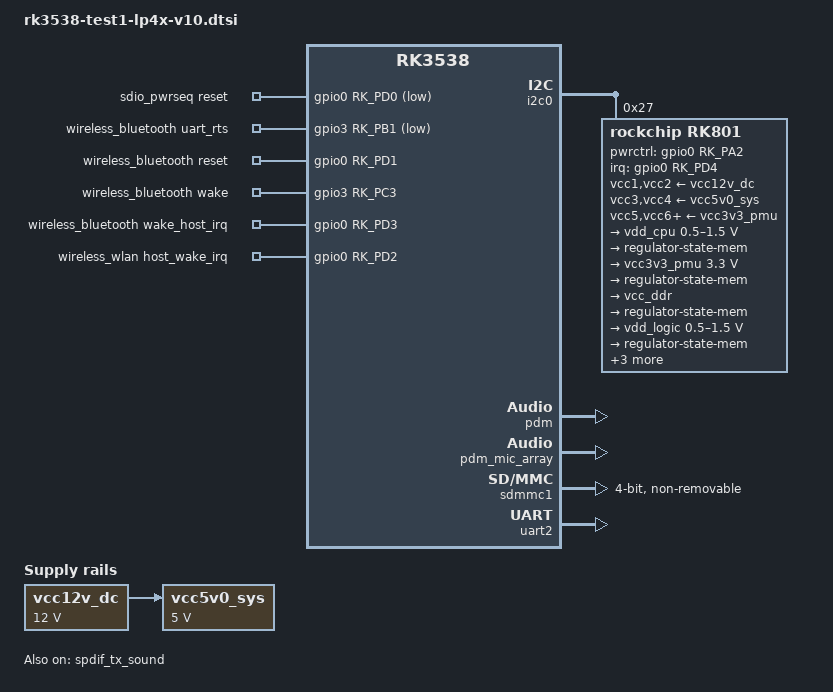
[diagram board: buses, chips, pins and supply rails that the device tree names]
// SPDX-License-Identifier: (GPL-2.0+ OR MIT)
/*
 * Copyright (c) 2025 Rockchip Electronics Co., Ltd.
 *
 */

/dts-v1/;

#include <dt-bindings/gpio/gpio.h>
#include <dt-bindings/pinctrl/rockchip.h>
#include "rk3538.dtsi"
#include "rk3538-evb.dtsi"
#include "rk3538-evb-input-keymap.dtsi"

/ {
	sdio_pwrseq: sdio-pwrseq {
		compatible = "mmc-pwrseq-simple";
		pinctrl-names = "default";
		pinctrl-0 = <&wifi_enable_h &clk_32km0_pins>;
		post-power-on-delay-ms = <200>;
		reset-gpios = <&gpio0 RK_PD0 GPIO_ACTIVE_LOW>;
		status = "okay";
	};

	vcc12v_dc: vcc12v-dc {
		compatible = "regulator-fixed";
		regulator-name = "vcc12v_dc";
		regulator-always-on;
		regulator-boot-on;
		regulator-min-microvolt = <12000000>;
		regulator-max-microvolt = <12000000>;
	};

	vcc5v0_sys: vcc5v0-sys {
		compatible = "regulator-fixed";
		regulator-name = "vcc5v0_sys";
		regulator-always-on;
		regulator-boot-on;
		regulator-min-microvolt = <5000000>;
		regulator-max-microvolt = <5000000>;
		vin-supply = <&vcc12v_dc>;
	};

	wireless_bluetooth: wireless-bluetooth {
		compatible = "bluetooth-platdata";
		uart_rts_gpios = <&gpio3 RK_PB1 GPIO_ACTIVE_LOW>;
		pinctrl-names = "default", "rts_gpio";
		pinctrl-0 = <&uart2m0_rtsn_pins>;
		pinctrl-1 = <&uart2m0_gpios>;
		BT,reset_gpio    = <&gpio0 RK_PD1 GPIO_ACTIVE_HIGH>;
		BT,wake_gpio     = <&gpio3 RK_PC3 GPIO_ACTIVE_HIGH>;
		BT,wake_host_irq = <&gpio0 RK_PD3 GPIO_ACTIVE_HIGH>;
		status = "okay";
	};

	wireless_wlan: wireless-wlan {
		compatible = "wlan-platdata";
		wifi_chip_type = "ap6275s";
		pinctrl-names = "default";
		pinctrl-0 = <&wifi_host_wake_irq>;
		WIFI,host_wake_irq = <&gpio0 RK_PD2 GPIO_ACTIVE_HIGH>;
		status = "okay";
	};
};

&i2c0 {
	status = "okay";
	pinctrl-names = "default";
	pinctrl-0 = <&i2c0m0_pins>;

	rk801: rk801@27 {
		compatible = "rockchip,rk801";
		status = "okay";
		reg = <0x27>;
		interrupt-parent = <&gpio0>;
		interrupts = <RK_PD4 IRQ_TYPE_LEVEL_LOW>;
		pwrctrl-gpios = <&gpio0 RK_PA2 GPIO_ACTIVE_HIGH>;

		pinctrl-names = "default", "pmic-reset";
		pinctrl-0 = <&pmic_int>;
		pinctrl-1 = <&soc_pwrctrl_reset>;
		rockchip,system-power-controller;
		wakeup-source;

		vcc1-supply = <&vcc12v_dc>;
		vcc2-supply = <&vcc12v_dc>;
		vcc3-supply = <&vcc5v0_sys>;
		vcc4-supply = <&vcc5v0_sys>;
		vcc5-supply = <&vcc3v3_pmu>;
		vcc6-supply = <&vcc3v3_pmu>;
		vcc7-supply = <&vcc3v3_pmu>;

		regulators {
			vdd_cpu: DCDC_REG1 {
				regulator-name = "vdd_cpu";
				regulator-min-microvolt = <500000>;
				regulator-max-microvolt = <1500000>;
				regulator-initial-mode = <0x1>;
				regulator-boot-on;
				regulator-always-on;
				regulator-state-mem {
					regulator-mode = <0x2>;
					regulator-off-in-suspend;
				};
			};

			vcc3v3_pmu: DCDC_REG2 {
				regulator-name = "vcc3v3_pmu";
				regulator-min-microvolt = <3300000>;
				regulator-max-microvolt = <3300000>;
				regulator-initial-mode = <0x1>;
				regulator-boot-on;
				regulator-always-on;
				regulator-state-mem {
					regulator-mode = <0x2>;
					regulator-on-in-suspend;
					regulator-suspend-microvolt = <3300000>;
				};
			};

			vcc_ddr: DCDC_REG3 {
				regulator-name = "vcc_ddr";
				regulator-boot-on;
				regulator-always-on;
				regulator-state-mem {
					regulator-mode = <0x2>;
					regulator-on-in-suspend;
				};
			};

			vdd_logic: DCDC_REG4 {
				regulator-name = "vdd_logic";
				regulator-min-microvolt = <500000>;
				regulator-max-microvolt = <1500000>;
				regulator-initial-mode = <0x1>;
				regulator-boot-on;
				regulator-always-on;
				regulator-state-mem {
					regulator-mode = <0x2>;
					regulator-on-in-suspend;
					regulator-suspend-microvolt = <900000>;
				};
			};

			vdd_0v9: LDO_REG1 {
				regulator-name = "vdd_0v9";
				regulator-min-microvolt = <900000>;
				regulator-max-microvolt = <900000>;
				regulator-boot-on;
				regulator-always-on;
				regulator-state-mem {
					regulator-on-in-suspend;
					regulator-suspend-microvolt = <900000>;
				};
			};

			vcc1v8_pmu: LDO_REG2 {
				regulator-name = "vcc1v8_pmu";
				regulator-min-microvolt = <1800000>;
				regulator-max-microvolt = <1800000>;
				regulator-boot-on;
				regulator-always-on;
				regulator-state-mem {
					regulator-on-in-suspend;
					regulator-suspend-microvolt = <1800000>;
				};
			};

			vcc_3v3: SWITCH_REG {
				regulator-name = "vcc_3v3";
				regulator-boot-on;
				regulator-always-on;
				regulator-state-mem {
					regulator-on-in-suspend;
				};
			};
		};
	};
};

&cpu0 {
	cpu-supply = <&vdd_cpu>;
};

&cpu2 {
	cpu-supply = <&vdd_cpu>;
};

&gpu {
	mali-supply = <&vdd_logic>;
};

&pdm {
	status = "okay";
};

&pdm_mic_array {
	status = "okay";
};

&pinctrl {
	pmic {
		pmic_int: pmic-int {
			rockchip,pins = <0 RK_PD4 RK_FUNC_GPIO &pcfg_pull_up>;
		};

		soc_pwrctrl_reset: soc-pwrctrl-reset {
			rockchip,pins = <0 RK_PA2 RK_FUNC_GPIO &pcfg_output_high>;
		};
	};

	sdio-pwrseq {
		wifi_enable_h: wifi-enable-h {
			rockchip,pins = <0 RK_PD0 RK_FUNC_GPIO &pcfg_pull_none>;
		};
	};

	wireless-bluetooth {
		uart2m0_gpios: uart2m0-gpios {
			rockchip,pins = <3 RK_PB1 RK_FUNC_GPIO &pcfg_pull_none>;
		};
	};

	wireless-wlan {
		wifi_host_wake_irq: wifi-host-wake-irq {
			rockchip,pins = <0 RK_PD2 RK_FUNC_GPIO &pcfg_pull_down>;
		};
	};
};

&sdmmc1 {
	max-frequency = <200000000>;
	no-sd;
	no-mmc;
	bus-width = <4>;
	cap-sd-highspeed;
	cap-sdio-irq;
	keep-power-in-suspend;
	non-removable;
	mmc-pwrseq = <&sdio_pwrseq>;
	pinctrl-names = "default";
	pinctrl-0 = <&sdmmc1_bus4_pins &sdmmc1_cmd_pins &sdmmc1_clk_pins>;
	sd-uhs-sdr104;
	status = "okay";
};

&spdif_tx_sound {
	status = "okay";
};

&uart2 {
	status = "okay";
	pinctrl-names = "default";
	pinctrl-0 = <&uart2m0_xfer_pins &uart2m0_ctsn_pins>;
};
